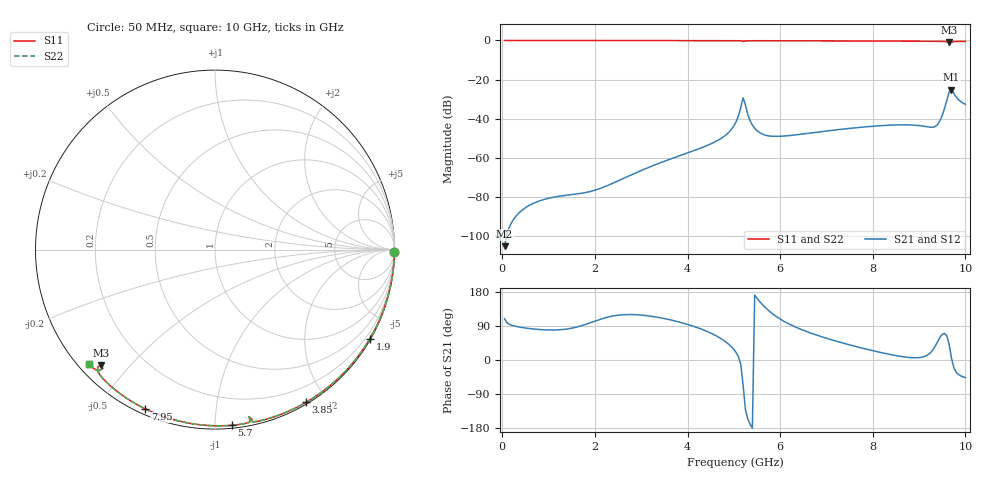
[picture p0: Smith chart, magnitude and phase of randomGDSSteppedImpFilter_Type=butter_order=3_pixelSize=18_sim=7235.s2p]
! freq	dB(S11)	phase(S11)	dB(S12)	phase(S12)
!  dB(S21)	phase(S21)	dB(S22)	phase(S22)
!S-par simulation data
#  GHz  S  DB  R 50
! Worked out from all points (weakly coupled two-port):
!   200 points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, 50 MHz to 10 GHz, reference 50 ohm
!   highest |S21| = -25.17 dB at 9.7 GHz (marker M1); lowest = -105.0 dB at 50 MHz (marker M2)
!   lowest |S11| = -0.9 dB at 9.65 GHz (marker M3), VSWR 20.01, Z = 2.93 - j20.8 ohm
!   |S11| at or under -10 dB: nowhere
!   |S22| runs from -0.9 to 0.0 dB; largest |S21 - S12| = 0
!   S11 on the Smith chart (normalised r, x): 50 MHz: open; 1.9 GHz: 0.03, -3.74; 3.85 GHz: 0.02, -1.76; 5.7 GHz: 0.02, -1.10; 7.95 GHz: 0.02, -0.65; 10 GHz: 0.03, -0.39
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0.05  -0.00 -0.8  -104.99 109.0  -104.99 109.0  -0.00 -0.8
1.1  -0.02 -17.5  -80.03 79.1  -80.03 79.1  -0.02 -17.5
1.75  -0.04 -27.6  -77.84 92.0  -77.84 92.0  -0.04 -27.7
1.9  -0.04 -30.0  -77.08 98.3  -77.08 98.3  -0.04 -30.0
3.4  -0.07 -52.6  -62.55 111.7  -62.55 111.7  -0.07 -52.6
3.85  -0.08 -59.2  -58.66 99.2  -58.66 99.2  -0.08 -59.2
4.7  -0.11 -71.3  -50.37 58.2  -50.37 58.2  -0.11 -71.3
4.9  -0.11 -74.2  -46.66 40.5  -46.66 40.5  -0.11 -74.2
5.05  -0.13 -76.5  -41.44 19.6  -41.44 19.6  -0.13 -76.5
5.2  -0.45 -78.5  -29.25 -66.0  -29.25 -66.0  -0.45 -78.5
5.3  -0.18 -78.7  -37.74 -155.3  -37.74 -155.3  -0.18 -78.7
5.4  -0.15 -80.4  -43.17 -179.7  -43.17 -179.7  -0.15 -80.4
5.7  -0.15 -84.6  -48.45 136.1  -48.45 136.1  -0.15 -84.6
6.7  -0.19 -97.8  -47.11 69.4  -47.11 69.4  -0.19 -97.9
7.95  -0.27 -113.6  -43.89 26.0  -43.89 26.0  -0.27 -113.7
8.35  -0.31 -118.6  -43.26 15.2  -43.26 15.2  -0.31 -118.6
9.35  -0.43 -131.2  -43.92 36.9  -43.92 36.9  -0.43 -131.2
9.5  -0.50 -133.4  -38.21 67.7  -38.21 67.7  -0.50 -133.4
9.65  -0.87 -134.7  -26.28 40.7  -26.28 40.7  -0.87 -134.7
9.7  -0.81 -133.3  -25.17 4.4  -25.17 4.4  -0.81 -133.3
9.85  -0.49 -135.6  -30.21 -38.1  -30.21 -38.1  -0.49 -135.6
10  -0.48 -137.8  -32.59 -46.6  -32.59 -46.6  -0.48 -137.8
